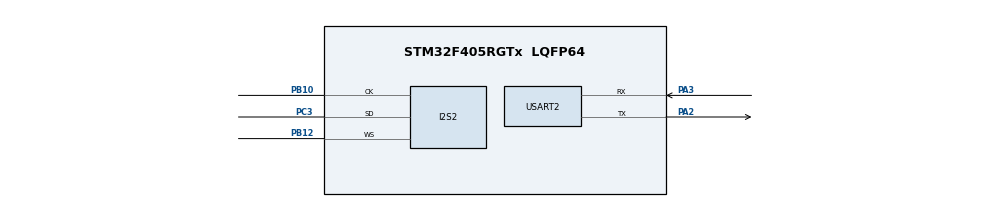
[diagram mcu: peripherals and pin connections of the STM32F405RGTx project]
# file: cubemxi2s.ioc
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Dma.Request0=USART2_TX
Dma.Request1=SPI2_RX
Dma.SPI2_RX.1.Direction=DMA_PERIPH_TO_MEMORY
Dma.SPI2_RX.1.FIFOMode=DMA_FIFOMODE_DISABLE
Dma.SPI2_RX.1.Instance=DMA1_Stream3
Dma.SPI2_RX.1.MemDataAlignment=DMA_MDATAALIGN_WORD
Dma.SPI2_RX.1.MemInc=DMA_MINC_ENABLE
Dma.SPI2_RX.1.Mode=DMA_CIRCULAR
Dma.SPI2_RX.1.PeriphDataAlignment=DMA_PDATAALIGN_WORD
Dma.SPI2_RX.1.PeriphInc=DMA_PINC_DISABLE
Dma.SPI2_RX.1.Priority=DMA_PRIORITY_LOW
Dma.USART2_TX.0.Direction=DMA_MEMORY_TO_PERIPH
Dma.USART2_TX.0.FIFOMode=DMA_FIFOMODE_DISABLE
Dma.USART2_TX.0.Instance=DMA1_Stream6
Dma.USART2_TX.0.MemDataAlignment=DMA_MDATAALIGN_BYTE
Dma.USART2_TX.0.MemInc=DMA_MINC_ENABLE
Dma.USART2_TX.0.Mode=DMA_NORMAL
Dma.USART2_TX.0.PeriphDataAlignment=DMA_PDATAALIGN_BYTE
Dma.USART2_TX.0.PeriphInc=DMA_PINC_DISABLE
Dma.USART2_TX.0.Priority=DMA_PRIORITY_LOW
I2S2.AudioFreq=I2S_AUDIOFREQ_32K
I2S2.DataFormat=I2S_DATAFORMAT_24B
I2S2.ErrorAudioFreq=-0.26 %
I2S2.FullDuplexMode=I2S_FULLDUPLEXMODE_DISABLE
I2S2.Instance=SPI$Index
I2S2.Mode=I2S_MODE_MASTER_RX
I2S2.RealAudioFreq=31.914 KHz
I2S2.VirtualMode=I2S_MODE_MASTER
Mcu.Family=STM32F4
Mcu.Name=STM32F405RGTx
Mcu.Package=LQFP64
NVIC.DMA1_Stream3_IRQn=true\:0\:0\:false\:false\:true\:false\:true\:true
NVIC.DMA1_Stream6_IRQn=true\:0\:0\:false\:false\:true\:false\:true\:true
NVIC.PriorityGroup=NVIC_PRIORITYGROUP_4
NVIC.USART2_IRQn=true\:0\:0\:false\:false\:true\:false\:true\:true
PA2.Mode=Asynchronous
PA2.Signal=USART2_TX
PA3.Mode=Asynchronous
PA3.Signal=USART2_RX
PB10.Mode=Half_Duplex_Master
PB10.Signal=I2S2_CK
PB12.Mode=Half_Duplex_Master
PB12.Signal=I2S2_WS
PC3.Mode=Half_Duplex_Master
PC3.Signal=I2S2_SD
ProjectManager.HeapSize=0x200
ProjectManager.StackSize=0x400
ProjectManager.TargetToolchain=Makefile
RCC.48MHZClocksFreq_Value=80000000
RCC.AHBFreq_Value=160000000
RCC.APB1CLKDivider=RCC_HCLK_DIV4
RCC.APB1Freq_Value=40000000
RCC.APB1TimFreq_Value=80000000
RCC.APB2CLKDivider=RCC_HCLK_DIV2
RCC.APB2Freq_Value=80000000
RCC.APB2TimFreq_Value=160000000
RCC.CortexFreq_Value=160000000
RCC.HCLKFreq_Value=160000000
RCC.HSE_VALUE=25000000
RCC.HSI_VALUE=16000000
RCC.LSE_VALUE=32768
RCC.PLLM=8
RCC.PLLN=160
RCC.SYSCLKFreq_VALUE=160000000
RCC.SYSCLKSource=RCC_SYSCLKSOURCE_PLLCLK
RCC.VCOOutputFreq_Value=320000000
STMicroelectronics.X-CUBE-ALGOBUILD.1.4.0.LibraryCcDSPOoLibraryJjDSPOoLibrary=true
USART2.VirtualMode=VM_ASYNC
VP_STMicroelectronics.X-CUBE-ALGOBUILD_VS_DSPOoLibraryJjLibrary_1.4.0_1.4.0.Mode=DSPOoLibraryJjLibrary
board=custom

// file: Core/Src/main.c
/* USER CODE BEGIN Header */
/**
  ******************************************************************************
  * @file           : main.c
  * @brief          : Main program body
  ******************************************************************************
  * @attention
  *
  * Copyright (c) 2025 STMicroelectronics.
  * All rights reserved.
  *
  * This software is licensed under terms that can be found in the LICENSE file
  * in the root directory of this software component.
  * If no LICENSE file comes with this software, it is provided AS-IS.
  *
  ******************************************************************************
  */
/* USER CODE END Header */
#include "main.h"

/* USER CODE BEGIN Includes */
#include "arm_math.h"
/* USER CODE END Includes */

/* USER CODE BEGIN PD */
#define FIR_FILTER_ENABLE 1  // Set to 0 to disable filtering
#define NUM_TAPS 63          // Number of filter coefficients
#define BUTTON_PIN GPIO_PIN_6
#define BUTTON_PORT GPIOC
#define FILTER_LED_PIN GPIO_PIN_11
#define FILTER_LED_PORT GPIOC
#define BUFFER_SIZE 64     // Match WAV_WRITE_SAMPLE_COUNT
volatile uint8_t uartBusy = 0;
volatile uint8_t half_buffer = 0, full_buffer = 0;
/* USER CODE END PD */

I2S_HandleTypeDef hi2s2;
DMA_HandleTypeDef hdma_spi2_rx;

UART_HandleTypeDef huart2;
DMA_HandleTypeDef hdma_usart2_tx;

/* USER CODE BEGIN PV */
#define LED_PIN GPIO_PIN_4
#define LED_PORT GPIOB

// Buffer types for 24-bit data
uint32_t i2sBuffer[BUFFER_SIZE];
uint32_t filteredBuffer[BUFFER_SIZE];
uint8_t uartBuffer[BUFFER_SIZE * 3]; // 3 bytes per sample for 24-bit
uint32_t toggleCounter = 0;
uint32_t ledBlinkRate = 100;
uint8_t useFilteredData = 0; // Flag to switch between filtered and unfiltered data

// FIR filter state and instance
float32_t firStateF32[BUFFER_SIZE + NUM_TAPS - 1];
arm_fir_instance_f32 firFilter;

// FIR filter coefficients (from your advanced code)
const float32_t firCoeffs32[NUM_TAPS] = {
    -0.0000000000f, 0.0000001490f, 0.0000006141f, 0.0000014047f, 0.0000025049f, 0.0000038729f, 0.0000054408f, 0.0000071151f,
    0.0000087777f, 0.0000102886f, 0.0000114883f, 0.0000122015f, 0.0000122418f, 0.0000114166f, 0.0000095331f, 0.0000064047f,
    0.0000018580f, -0.0000042602f, -0.0000120747f, -0.0000216747f, -0.0000331060f, -0.0000463638f, -0.0000613856f, -0.0000780455f,
    -0.0000961486f, -0.0001154272f, -0.0001355383f, -0.0001560622f, -0.0001765041f, -0.0001962960f, -0.0002148027f, -0.0002313285f,
    -0.0002451273f, -0.0002554144f, -0.0002613811f, -0.0002622113f, -0.0002571005f, -0.0002452764f, -0.0002260214f, -0.0001986959f,
    -0.0001627627f, -0.0001178119f, -0.0000635852f, 0.0000000000f, 0.0000728290f, 0.0001545688f, 0.0002446513f, 0.0003422584f,
    0.0004463128f, 0.0005554717f, 0.0006681271f, 0.0007824110f, 0.0008962069f, 0.0010071680f, 0.0011127412f, 0.0012101990f,
    0.0012966769f, 0.0013692178f, 0.0014248220f, 0.0014605034f, 0.0014733498f, 0.0014605879f
};

/* USER CODE END PV */

void SystemClock_Config(void);
void PeriphCommonClock_Config(void);
static void MX_GPIO_Init(void);
static void MX_DMA_Init(void);
static void MX_I2S2_Init(void);
static void MX_USART2_UART_Init(void);
/* USER CODE BEGIN PFP */
static void LED_GPIO_Init(void);
static void BUTTON_GPIO_Init(void);
static void FILTER_LED_GPIO_Init(void);
void ProcessAndTransmitData(uint32_t* rawData, uint16_t size);
void ApplyFIRFilter(uint32_t* inputData, uint32_t* outputData, uint16_t size);
void TransmitDataOverUART(uint8_t* data, uint16_t size);
/* USER CODE END PFP */

/* USER CODE BEGIN 0 */
static void LED_GPIO_Init(void)
{
  GPIO_InitTypeDef GPIO_InitStruct = {0};

  __HAL_RCC_GPIOB_CLK_ENABLE();

  GPIO_InitStruct.Pin = LED_PIN;
  GPIO_InitStruct.Mode = GPIO_MODE_OUTPUT_PP;
  GPIO_InitStruct.Pull = GPIO_NOPULL;
  GPIO_InitStruct.Speed = GPIO_SPEED_FREQ_LOW;
  HAL_GPIO_Init(LED_PORT, &GPIO_InitStruct);

  HAL_GPIO_WritePin(LED_PORT, LED_PIN, GPIO_PIN_RESET);
}

static void BUTTON_GPIO_Init(void)
{
  GPIO_InitTypeDef GPIO_InitStruct = {0};

  __HAL_RCC_GPIOC_CLK_ENABLE();

  GPIO_InitStruct.Pin = BUTTON_PIN;
  GPIO_InitStruct.Mode = GPIO_MODE_INPUT;
  GPIO_InitStruct.Pull = GPIO_PULLUP;
  HAL_GPIO_Init(BUTTON_PORT, &GPIO_InitStruct);
}

static void FILTER_LED_GPIO_Init(void)
{
  GPIO_InitTypeDef GPIO_InitStruct = {0};

  __HAL_RCC_GPIOB_CLK_ENABLE();

  GPIO_InitStruct.Pin = FILTER_LED_PIN;
  GPIO_InitStruct.Mode = GPIO_MODE_OUTPUT_PP;
  GPIO_InitStruct.Pull = GPIO_NOPULL;
  GPIO_InitStruct.Speed = GPIO_SPEED_FREQ_LOW;
  HAL_GPIO_Init(FILTER_LED_PORT, &GPIO_InitStruct);

  HAL_GPIO_WritePin(FILTER_LED_PORT, FILTER_LED_PIN, GPIO_PIN_RESET);
}

void ProcessAndTransmitData(uint32_t* data, uint16_t size)
{
  // Pack 24-bit data into UART buffer (3 bytes per sample)
  for (uint16_t i = 0; i < size; i++) {
    uint32_t sample = data[i] & 0xFFFFFF; // Extract 24-bit data

    // Store the 24-bit word in the UART buffer (little-endian)
    uartBuffer[i * 3] = (uint8_t)(sample & 0xFF);         // LSB
    uartBuffer[i * 3 + 1] = (uint8_t)((sample >> 8) & 0xFF);
    uartBuffer[i * 3 + 2] = (uint8_t)((sample >> 16) & 0xFF); // MSB
  }

  // Transmit the data over UART
  TransmitDataOverUART(uartBuffer, size * 3);
}

// New function to handle UART transmission with proper error checking
void TransmitDataOverUART(uint8_t* data, uint16_t size)
{
  // Only transmit if UART is not busy and data is valid
  if (!uartBusy && data != NULL && size > 0) {
    uartBusy = 1;

    HAL_StatusTypeDef status = HAL_UART_Transmit_DMA(&huart2, data, size);

  }
}

void ApplyFIRFilter(uint32_t* inputData, uint32_t* outputData, uint16_t size)
{
  float32_t inputFloat[BUFFER_SIZE];
  float32_t outputFloat[BUFFER_SIZE];

  // Convert uint32_t to float32_t for FIR processing
  // For 24-bit data, we need to sign-extend if the MSB (bit 23) is set
  for (uint16_t i = 0; i < size; i++) {
    // Extract the 24-bit value from the 32-bit container
    int32_t sample = inputData[i] & 0xFFFFFF;

    // Sign extension for 24-bit data in 2's complement
    if (sample & 0x800000) {
      sample |= 0xFF000000; // Extend the sign bit
    }

    inputFloat[i] = (float32_t)sample;
  }

  arm_fir_f32(&firFilter, inputFloat, outputFloat, size);

  // Convert back to uint32_t (24-bit format)
  for (uint16_t i = 0; i < size; i++) {
    // Convert and clip to 24-bit range
    int32_t sample;

    if (outputFloat[i] > 8388607.0f) { // 2^23 - 1
      sample = 8388607;
    } else if (outputFloat[i] < -8388608.0f) { // -2^23
      sample = -8388608;
    } else {
      sample = (int32_t)outputFloat[i];
    }

    // Store only the lower 24 bits
    outputData[i] = sample & 0xFFFFFF;
  }
}

void HAL_I2S_RxHalfCpltCallback(I2S_HandleTypeDef *hi2s)
{
  if (hi2s->Instance == SPI2)
  {
    // First half of buffer received
    half_buffer = 1;

    // Apply FIR filter to the first half of buffer if filtering is enabled
    if (FIR_FILTER_ENABLE) {
      ApplyFIRFilter(i2sBuffer, filteredBuffer, BUFFER_SIZE / 2);
    }

    // Choose which data to send based on button state
    if (useFilteredData) {
      ProcessAndTransmitData(filteredBuffer, BUFFER_SIZE / 2);
    } else {
      ProcessAndTransmitData(i2sBuffer, BUFFER_SIZE / 2);
    }

    // Blink LED at specified rate
    toggleCounter++;
    if (toggleCounter >= ledBlinkRate)
    {
      HAL_GPIO_TogglePin(LED_PORT, LED_PIN);
      toggleCounter = 0;
    }
  }
}

void HAL_I2S_RxCpltCallback(I2S_HandleTypeDef *hi2s)
{
  if (hi2s->Instance == SPI2)
  {
    // Second half of buffer received
    full_buffer = 1;

    // Apply FIR filter to the second half of buffer if filtering is enabled
    if (FIR_FILTER_ENABLE) {
      ApplyFIRFilter(&i2sBuffer[BUFFER_SIZE / 2], &filteredBuffer[BUFFER_SIZE / 2], BUFFER_SIZE / 2);
    }

    // Choose which data to send based on button state
    if (useFilteredData) {
      ProcessAndTransmitData(&filteredBuffer[BUFFER_SIZE / 2], BUFFER_SIZE / 2);
    } else {
      ProcessAndTransmitData(&i2sBuffer[BUFFER_SIZE / 2], BUFFER_SIZE / 2);
    }
  }
}

void HAL_UART_TxCpltCallback(UART_HandleTypeDef *huart)
{
  if (huart->Instance == USART2) {
    uartBusy = 0; // Mark UART as available again
  }
}

void HAL_UART_ErrorCallback(UART_HandleTypeDef *huart)
{
  if (huart->Instance == USART2) {
    // Reset busy flag in case of error
    uartBusy = 0;
  }
}
/* USER CODE END 0 */

int main(void)
{

  /* MCU Configuration--------------------------------------------------------*/

  /* Reset of all peripherals, Initializes the Flash interface and the Systick. */
  HAL_Init();

  /* Configure the system clock */
  SystemClock_Config();

  /* Configure the peripherals common clocks */
  PeriphCommonClock_Config();

  /* Initialize all configured peripherals */
  MX_GPIO_Init();
  MX_DMA_Init();
  MX_I2S2_Init();
  MX_USART2_UART_Init();
  /* USER CODE BEGIN 2 */

  // Initialize LED GPIO
  LED_GPIO_Init();

  // Initialize button GPIO
  BUTTON_GPIO_Init();

  // Initialize filter LED GPIO
  FILTER_LED_GPIO_Init();

  // Initialize FIR filter
  if (FIR_FILTER_ENABLE) {
    arm_fir_init_f32(&firFilter, NUM_TAPS, (float32_t *)firCoeffs32, firStateF32, BUFFER_SIZE / 2);
  }

  // Reset UART state
  uartBusy = 0;

  // Start I2S reception in DMA mode
  if (HAL_I2S_Receive_DMA(&hi2s2, (uint16_t*)i2sBuffer, BUFFER_SIZE) != HAL_OK)
  {
    Error_Handler();
  }

  // Initial LED states
  HAL_GPIO_WritePin(LED_PORT, LED_PIN, GPIO_PIN_SET);
  HAL_GPIO_WritePin(FILTER_LED_PORT, FILTER_LED_PIN, GPIO_PIN_RESET);
  /* USER CODE END 2 */

  /* Infinite loop */
  /* USER CODE BEGIN WHILE */
/* Infinite loop */
while (1)
{
  // Check current button state
  uint8_t buttonState = HAL_GPIO_ReadPin(BUTTON_PORT, BUTTON_PIN);

  // Button pressed (LOW) = filtering ON, Button released (HIGH) = filtering OFF
  if (buttonState == GPIO_PIN_RESET) { // Button is pressed
    if (!useFilteredData) { // Only update if state changes
      useFilteredData = 1;
      HAL_GPIO_WritePin(FILTER_LED_PORT, FILTER_LED_PIN, GPIO_PIN_SET);
      ledBlinkRate = 25; // Faster blink rate for filtered mode
    }
  } else { // Button is released
    if (useFilteredData) { // Only update if state changes
      useFilteredData = 0;
      HAL_GPIO_WritePin(FILTER_LED_PORT, FILTER_LED_PIN, GPIO_PIN_RESET);
      ledBlinkRate = 100; // Slower blink rate for unfiltered mode
    }
  }

  // If UART is stuck busy for too long, reset it
  static uint32_t uartTimeoutCounter = 0;
  if (uartBusy) {
    uartTimeoutCounter++;
    if (uartTimeoutCounter > 1000) { // ~10 seconds with 10ms delay
      uartBusy = 0;
      HAL_UART_AbortTransmit(&huart2);
      uartTimeoutCounter = 0;
    }
  } else {
    uartTimeoutCounter = 0;
  }

  HAL_Delay(10); // Keep this delay for button debouncing
}
  /* USER CODE END 3 */
}

void SystemClock_Config(void)
{
  LL_FLASH_SetLatency(LL_FLASH_LATENCY_5);
  while(LL_FLASH_GetLatency()!= LL_FLASH_LATENCY_5)
  {
  }
  LL_PWR_SetRegulVoltageScaling(LL_PWR_REGU_VOLTAGE_SCALE1);
  LL_RCC_HSI_SetCalibTrimming(16);
  LL_RCC_HSI_Enable();

   /* Wait till HSI is ready */
  while(LL_RCC_HSI_IsReady() != 1)
  {

  }
  LL_RCC_PLL_ConfigDomain_SYS(LL_RCC_PLLSOURCE_HSI, LL_RCC_PLLM_DIV_8, 160, LL_RCC_PLLP_DIV_2);
  LL_RCC_PLL_Enable();

   /* Wait till PLL is ready */
  while(LL_RCC_PLL_IsReady() != 1)
  {

  }
  while (LL_PWR_IsActiveFlag_VOS() == 0)
  {
  }
  LL_RCC_SetAHBPrescaler(LL_RCC_SYSCLK_DIV_1);
  LL_RCC_SetAPB1Prescaler(LL_RCC_APB1_DIV_4);
  LL_RCC_SetAPB2Prescaler(LL_RCC_APB2_DIV_2);
  LL_RCC_SetSysClkSource(LL_RCC_SYS_CLKSOURCE_PLL);

   /* Wait till System clock is ready */
  while(LL_RCC_GetSysClkSource() != LL_RCC_SYS_CLKSOURCE_STATUS_PLL)
  {

  }
  LL_SetSystemCoreClock(160000000);

   /* Update the time base */
  if (HAL_InitTick (TICK_INT_PRIORITY) != HAL_OK)
  {
    Error_Handler();
  }
}

void PeriphCommonClock_Config(void)
{
  LL_RCC_PLLI2S_ConfigDomain_I2S(LL_RCC_PLLSOURCE_HSI, LL_RCC_PLLI2SM_DIV_8, 192, LL_RCC_PLLI2SR_DIV_2);
  LL_RCC_PLLI2S_Enable();

   /* Wait till PLL is ready */
  while(LL_RCC_PLLI2S_IsReady() != 1)
  {

  }
}

static void MX_I2S2_Init(void)
{

  hi2s2.Instance = SPI2;
  hi2s2.Init.Mode = I2S_MODE_MASTER_RX;
  hi2s2.Init.Standard = I2S_STANDARD_PHILIPS;
  hi2s2.Init.DataFormat = I2S_DATAFORMAT_24B;
  hi2s2.Init.MCLKOutput = I2S_MCLKOUTPUT_DISABLE;
  hi2s2.Init.AudioFreq = I2S_AUDIOFREQ_32K;
  hi2s2.Init.CPOL = I2S_CPOL_LOW;
  hi2s2.Init.ClockSource = I2S_CLOCK_PLL;
  hi2s2.Init.FullDuplexMode = I2S_FULLDUPLEXMODE_DISABLE;
  if (HAL_I2S_Init(&hi2s2) != HAL_OK)
  {
    Error_Handler();
  }

}

static void MX_USART2_UART_Init(void)
{

  huart2.Instance = USART2;
  huart2.Init.BaudRate = 115200;
  huart2.Init.WordLength = UART_WORDLENGTH_8B;
  huart2.Init.StopBits = UART_STOPBITS_1;
  huart2.Init.Parity = UART_PARITY_NONE;
  huart2.Init.Mode = UART_MODE_TX_RX;
  huart2.Init.HwFlowCtl = UART_HWCONTROL_NONE;
  huart2.Init.OverSampling = UART_OVERSAMPLING_16;
  if (HAL_UART_Init(&huart2) != HAL_OK)
  {
    Error_Handler();
  }

}

static void MX_DMA_Init(void)
{

  /* Init with LL driver */
  /* DMA controller clock enable */
  LL_AHB1_GRP1_EnableClock(LL_AHB1_GRP1_PERIPH_DMA1);

  /* DMA interrupt init */
  /* DMA1_Stream3_IRQn interrupt configuration */
  HAL_NVIC_SetPriority(DMA1_Stream3_IRQn, 0, 0);
  HAL_NVIC_EnableIRQ(DMA1_Stream3_IRQn);
  /* DMA1_Stream6_IRQn interrupt configuration */
  HAL_NVIC_SetPriority(DMA1_Stream6_IRQn, 0, 0);
  HAL_NVIC_EnableIRQ(DMA1_Stream6_IRQn);

}

static void MX_GPIO_Init(void)
{

  /* GPIO Ports Clock Enable */
  LL_AHB1_GRP1_EnableClock(LL_AHB1_GRP1_PERIPH_GPIOC);
  LL_AHB1_GRP1_EnableClock(LL_AHB1_GRP1_PERIPH_GPIOA);
  LL_AHB1_GRP1_EnableClock(LL_AHB1_GRP1_PERIPH_GPIOB);

}

void Error_Handler(void)
{
  __disable_irq();
  while (1)
  {
  }
}
